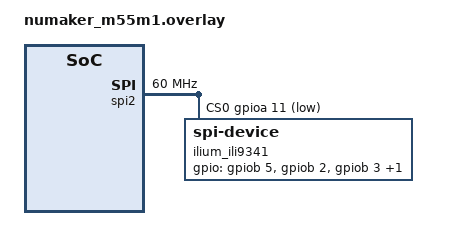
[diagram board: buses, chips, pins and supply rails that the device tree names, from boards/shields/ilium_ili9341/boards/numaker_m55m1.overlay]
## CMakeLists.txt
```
# Copyright (c) 2025 Nuvoton Technology Corporation
# SPDX-License-Identifier: Apache-2.0

cmake_minimum_required(VERSION 3.20.0)

# Add extra board root for out-of-tree shields. See:
# https://docs.zephyrproject.org/latest/develop/application/index.html#custom-board-devicetree-and-soc-definitions
list(APPEND BOARD_ROOT ${CMAKE_CURRENT_SOURCE_DIR})

find_package(Zephyr REQUIRED HINTS $ENV{ZEPHYR_BASE})

project(NuMaker-Zephyr-TFLM-ObjectDetection)

# Pick chosen model file (*.tflite)
if(CONFIG_NVT_ML_OD_MODEL_YOLO_FASTEST_INT8)
    set(MODEL_TFLITE yolo-fastest_int8.tflite)
elseif(CONFIG_NVT_ML_OD_MODEL_YOLO_FASTEST_INT8_ETHOS_U55_256_SIZE)
    set(MODEL_TFLITE yolo-fastest_int8_ethos-u55-256_opt-size.tflite)
elseif(CONFIG_NVT_ML_OD_MODEL_YOLO_FASTEST_INT8_ETHOS_U55_256_SPEED)
    set(MODEL_TFLITE yolo-fastest_int8_ethos-u55-256_opt-speed.tflite)
endif()

target_compile_definitions(app
  PRIVATE
    # Required by app for dcache conditional code
    $<$<BOOL:${CONFIG_CACHE_MANAGEMENT}>:NVT_DCACHE_ON>
    # Required by app to enable CCAP
    $<$<BOOL:${CONFIG_NVT_ML_OD_INPUT_CCAP}>:__USE_CCAP__>
    # Required by app to enable display
    $<$<BOOL:${CONFIG_NVT_ML_OD_OUTPUT_DISPLAY}>:__USE_DISPLAY__>
    # Required by app to enable Ethos-U profiling
    $<$<BOOL:${CONFIG_NVT_ML_ETHOS_U_PROFILE}>:__PROFILE__>
    # Required by ml-embedded-evaluation-kit to go Ethos-U way
    $<$<BOOL:${CONFIG_NVT_ML_REQUIRES_ETHOS_U}>:ARM_NPU>
    # Required by TFLM to define tensor arena size
    ACTIVATION_BUF_SZ=${CONFIG_NVT_ML_TFLM_TENSOR_ARENA_SIZE}
)

set(APP_SOURCE_DIR ${CMAKE_CURRENT_SOURCE_DIR}/src)
set(APP_GEN_DIR ${CMAKE_CURRENT_BINARY_DIR}/generated)

target_include_directories(app
  PRIVATE
    ${APP_SOURCE_DIR}/Device/include
    ${APP_SOURCE_DIR}/ml-embedded-evaluation-kit_clone/application_api_common/include
    ${APP_SOURCE_DIR}/ml-embedded-evaluation-kit_clone/application_api_use_case_object_detection/include
    ${APP_SOURCE_DIR}/ml-embedded-evaluation-kit_clone/application_main/include
    ${APP_SOURCE_DIR}/ml-embedded-evaluation-kit_clone/log/include
    ${APP_SOURCE_DIR}/ml-embedded-evaluation-kit_clone/math/include
    ${APP_SOURCE_DIR}/ml-embedded-evaluation-kit_clone/profiler/include
    ${APP_SOURCE_DIR}/Model/include
    ${APP_SOURCE_DIR}/NPU/include
    ${APP_SOURCE_DIR}/openmv_clone/omv/alloc
    ${APP_SOURCE_DIR}/openmv_clone/omv/common
    ${APP_SOURCE_DIR}/openmv_clone/omv/imlib
    ${APP_SOURCE_DIR}/openmv_clone/omv/Lib
    ${APP_SOURCE_DIR}/Pattern/include
    ${APP_SOURCE_DIR}/ProfilerCounter/include
    ${APP_SOURCE_DIR}
    ${APP_GEN_DIR}
)

# Add BSP_Clone include path
target_include_directories(app
  PRIVATE
    $<$<BOOL:${CONFIG_SOC_SERIES_M55M1X}>:${APP_SOURCE_DIR}/BSP_Clone/M55M1_StdDriver/inc>
)

# Add all BSP_Clone *.cc/*.cpp/*.c files
if(CONFIG_SOC_SERIES_M55M1X)
  file(GLOB_RECURSE SOURCE_BSP_CLONE
    "${APP_SOURCE_DIR}/BSP_Clone/M55M1_StdDriver/*.cc"
    "${APP_SOURCE_DIR}/BSP_Clone/M55M1_StdDriver/*.cpp"
    "${APP_SOURCE_DIR}/BSP_Clone/M55M1_StdDriver/*.c"
  )
endif()

# Add all Device *.cc/*.cpp/*.c files
file(GLOB_RECURSE SOURCE_DEVICE
    "${APP_SOURCE_DIR}/Device/*.cc"
    "${APP_SOURCE_DIR}/Device/*.cpp"
    "${APP_SOURCE_DIR}/Device/*.c"
)
# Exclude */ImageSensor/*.c* files if not enabled
if(NOT CONFIG_NVT_ML_OD_INPUT_CCAP)
    list(FILTER SOURCE_DEVICE EXCLUDE REGEX ".*/ImageSensor/.*\\.c.*$")
endif()
# Exclude */Display/*.c* files if not enabled
if(NOT CONFIG_NVT_ML_OD_OUTPUT_DISPLAY)
    list(FILTER SOURCE_DEVICE EXCLUDE REGEX ".*/Display/.*\\.c.*$")
endif()
# Exclude */HyperRAM/*.c* files if not enabled
if(NOT CONFIG_NVT_ML_HYPERRAM)
    list(FILTER SOURCE_DEVICE EXCLUDE REGEX ".*/HyperRAM/.*\\.c.*$")
endif()

# Add all ml-embedded-evaluation-kit_clone *.cc/*.cpp/*.c files
file(GLOB_RECURSE SOURCE_ML_EMBEDDED_EVALUATION_KIT_CLONE
    "${APP_SOURCE_DIR}/ml-embedded-evaluation-kit_clone/*.cc"
    "${APP_SOURCE_DIR}/ml-embedded-evaluation-kit_clone/*.cpp"
    "${APP_SOURCE_DIR}/ml-embedded-evaluation-kit_clone/*.c"
)

# Add all Model *.cc/*.cpp/*.c files
file(GLOB_RECURSE SOURCE_MODEL
    "${APP_SOURCE_DIR}/Model/*.cc"
    "${APP_SOURCE_DIR}/Model/*.cpp"
    "${APP_SOURCE_DIR}/Model/*.c"
)
# Exclude all */Model/*.tflite.c* files from build, except target-specific
list(FILTER SOURCE_MODEL EXCLUDE REGEX ".*/Model/.*\\.tflite\\.c.*$")
list(APPEND SOURCE_MODEL "${APP_SOURCE_DIR}/Model/${MODEL_TFLITE}.cpp")

# Add all NPU *.cc/*.cpp/*.c files
file(GLOB_RECURSE SOURCE_NPU
    "${APP_SOURCE_DIR}/NPU/*.cc"
    "${APP_SOURCE_DIR}/NPU/*.cpp"
    "${APP_SOURCE_DIR}/NPU/*.c"
)
# Exclude ethosu*.c* or ethos_u*.c* files if not enabled
if(NOT CONFIG_NVT_ML_REQUIRES_ETHOS_U)
    list(FILTER SOURCE_NPU EXCLUDE REGEX ".*ethos_?u.*\\.c.*$")
endif()

# Make openmv available for image processing, even though camera
# and display are not enabled.
# Add all openmv *.cc/*.cpp/*.c files
file(GLOB_RECURSE SOURCE_OPENMV
    "${APP_SOURCE_DIR}/openmv_clone/*.cc"
    "${APP_SOURCE_DIR}/openmv_clone/*.cpp"
    "${APP_SOURCE_DIR}/openmv_clone/*.c"
)
# Exclude all */omv/common/*.c* files from build, except array.c
# and mutex.c
list(FILTER SOURCE_OPENMV EXCLUDE REGEX ".*/omv/common/.*\\.c.*$")
list(APPEND SOURCE_OPENMV
    "${APP_SOURCE_DIR}/openmv_clone/omv/common/array.c"
    "${APP_SOURCE_DIR}/openmv_clone/omv/common/mutex.c"
)
# Exclude unnecessary */omv/sensors/*.c* files from build
list(FILTER SOURCE_OPENMV EXCLUDE REGEX ".*/omv/sensors/.*\\.c.*$")

# Add all Pattern *.cc/*.cpp/*.c files
file(GLOB_RECURSE SOURCE_PATTERN
    "${APP_SOURCE_DIR}/Pattern/*.cc"
    "${APP_SOURCE_DIR}/Pattern/*.cpp"
    "${APP_SOURCE_DIR}/Pattern/*.c"
)

if(CONFIG_NVT_ML_ETHOS_U_PROFILE)
    # Add all ProfilerCounter *.cc/*.cpp/*.c files
    file(GLOB_RECURSE SOURCE_PROFILER_COUNTER
        "${APP_SOURCE_DIR}/ProfilerCounter/*.cc"
        "${APP_SOURCE_DIR}/ProfilerCounter/*.cpp"
        "${APP_SOURCE_DIR}/ProfilerCounter/*.c"
    )
else()
    # Make pmu_get_systick_Count available for display control
    list(APPEND SOURCE_PROFILER_COUNTER
        "${APP_SOURCE_DIR}/ProfilerCounter/pmu_counter.c"
    )
endif()

# Add root *.cc/*.cpp/*.c files
file(GLOB SOURCE_ROOT
    "${APP_SOURCE_DIR}/*.cc"
    "${APP_SOURCE_DIR}/*.cpp"
    "${APP_SOURCE_DIR}/*.c"
)

target_sources(app
  PRIVATE
    ${SOURCE_BSP_CLONE}
    ${SOURCE_DEVICE}
    ${SOURCE_ML_EMBEDDED_EVALUATION_KIT_CLONE}
    ${SOURCE_MODEL}
    ${SOURCE_NPU}
    ${SOURCE_OPENMV}
    ${SOURCE_PATTERN}
    ${SOURCE_PROFILER_COUNTER}
    ${SOURCE_ROOT}
)

# Convert picked model to C array data
generate_inc_file_for_target(app
    src/Model/${MODEL_TFLITE}
    ${APP_GEN_DIR}/${MODEL_TFLITE}.inc
)
```

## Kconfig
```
# Copyright (c) 2025 Nuvoton Technology Corporation
# SPDX-License-Identifier: Apache-2.0

config NVT_ML_HYPERRAM
	bool

config NVT_ML_REQUIRES_HYPERRAM
	bool
	select NVT_ML_HYPERRAM

config NVT_ML_HYPERRAM_TENSOR_ARENA
	bool "Allocate TFLM tensor arena in HyperRAM"
	depends on SHIELD_WINBOND_HYPERRAM
	select NVT_ML_REQUIRES_HYPERRAM

config NVT_ML_REQUIRES_ETHOS_U
	bool
	select ETHOS_U

config NVT_ML_ETHOS_U_PROFILE
	bool "Enable Ethos-U profiling"
	depends on NVT_ML_REQUIRES_ETHOS_U
	help
	  Enable Ethos-U profiling

config NVT_ML_TFLM_TENSOR_ARENA_SIZE
	int "TFLM tensor arena size"
	default 9500000 if NVT_ML_OD_MODEL_YOLO_FASTEST_INT8
	default 900000 if NVT_ML_OD_MODEL_YOLO_FASTEST_INT8_ETHOS_U55_256_SIZE
	default 1300000 if NVT_ML_OD_MODEL_YOLO_FASTEST_INT8_ETHOS_U55_256_SPEED
	help
	  Define TFLM tensor arena size

config NVT_ML_OD_INPUT_CCAP
	bool

choice NVT_ML_OD_INPUT_CHOICE
	prompt "Choose ML object detection input source"
	default NVT_ML_OD_INPUT_SENSOR_HM1055 if SHIELD_HIMAX_HM1055
	default NVT_ML_OD_INPUT_IMAGE_BLOB

config NVT_ML_OD_INPUT_SENSOR_HM1055
	bool "HM1055 as OD input"
	depends on SHIELD_HIMAX_HM1055
	select NVT_ML_OD_INPUT_CCAP
	help
	  Use CMOS image sensor HM1055 as object detection input

config NVT_ML_OD_INPUT_IMAGE_BLOB
	bool "Image blob as OD input"
	help
	  Use embedded image blob as object detection input

endchoice

choice NVT_ML_OD_MODEL_CHOICE
	prompt "Choose ML object detection model"
	default NVT_ML_OD_MODEL_YOLO_FASTEST_INT8_ETHOS_U55_256_SIZE if SOC_SERIES_M55M1X
	default NVT_ML_OD_MODEL_YOLO_FASTEST_INT8

config NVT_ML_OD_MODEL_YOLO_FASTEST_INT8
	bool "YOLO-Fastest OD model, no vela-compile"
	help
	  Use YOLO-Fastest object detection model, type INT8,
	  no vela-compile

config NVT_ML_OD_MODEL_YOLO_FASTEST_INT8_ETHOS_U55_256_SIZE
	bool "YOLO-Fastest OD model, vela-compile for size"
	select NVT_ML_REQUIRES_ETHOS_U
	help
	  Use YOLO-Fastest object detection model, type INT8,
	  vela-compile for Ethos-U55/256 MAC, optimize for size

config NVT_ML_OD_MODEL_YOLO_FASTEST_INT8_ETHOS_U55_256_SPEED
	bool "YOLO-Fastest OD model, vela-compile for speed"
	select NVT_ML_REQUIRES_ETHOS_U
	help
	  Use YOLO-Fastest object detection model, type INT8,
	  vela-compile for Ethos-U55/256 MAC, optimize for speed

endchoice

config NVT_ML_OD_OUTPUT_DISPLAY
	bool

choice NVT_ML_OD_OUTPUT_DISPLAY_CHOICE
	bool "Choose display as OD output"
	default NVT_ML_OD_OUTPUT_DISPLAY_LCD_FSA506 if SHIELD_IDS_FSA506
	default NVT_ML_OD_OUTPUT_DISPLAY_LCD_ILI9341 if SHIELD_ILIUM_ILI9341
	default NVT_ML_OD_OUTPUT_DISPLAY_LCD_LT7381 if SHIELD_LEVETOP_LT7381
	default NVT_ML_OD_OUTPUT_DISPLAY_NONE

config NVT_ML_OD_OUTPUT_DISPLAY_LCD_FSA506
	bool "FSA506 as OD output"
	depends on SHIELD_IDS_FSA506
	select NVT_ML_OD_OUTPUT_DISPLAY
	help
	  Use LCD FSA506 as object detection output over EBI

config NVT_ML_OD_OUTPUT_DISPLAY_LCD_ILI9341
	bool "ILI9341 as OD output"
	depends on SHIELD_ILIUM_ILI9341
	select NVT_ML_OD_OUTPUT_DISPLAY
	help
	  Use LCD ILI9341 as object detection output over SPI

config NVT_ML_OD_OUTPUT_DISPLAY_LCD_LT7381
	bool "LT7381 as OD output"
	depends on SHIELD_LEVETOP_LT7381
	select NVT_ML_OD_OUTPUT_DISPLAY
	help
	  Use LCD LT7381 as object detection output over EBI

config NVT_ML_OD_OUTPUT_DISPLAY_NONE
	bool "No display as OD output"
	help
	  Use no display as object detection output

endchoice

config NVT_ML_OD_INFERENCE_THREAD_STACK_SIZE
	int "OD inference thread stack size"
	default 2048
	help
	  Size of the stack for the object detection inference thread

source "Kconfig.zephyr"
```

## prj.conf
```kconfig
CONFIG_CPP=y
CONFIG_STD_CPP17=y

CONFIG_TENSORFLOW_LITE_MICRO=y

CONFIG_CMSIS_DSP=y
CONFIG_CMSIS_DSP_COMPLEXMATH=y
CONFIG_CMSIS_DSP_FASTMATH=y
CONFIG_CMSIS_DSP_TRANSFORM=y

# MPU fault may imply stack overflow
CONFIG_MAIN_STACK_SIZE=4096
# Used for k_malloc in ethos-u driver overrides ethosu_mutex_create
# and ethosu_semaphore_create
CONFIG_HEAP_MEM_POOL_SIZE=16384

# Non-cache-able memory for driver not handling cache coherency,
# e.g. LCD DMA
CONFIG_NOCACHE_MEMORY=y

# Use shell instead of unsupported getchar
CONFIG_SHELL=y

# Enable FPU
CONFIG_FPU=y
CONFIG_FPU_SHARING=y
CONFIG_FP_HARDABI=y

# Logging
CONFIG_LOG=y
CONFIG_REQUIRES_FLOAT_PRINTF=y
# Reduce log messages dropped
CONFIG_LOG_BLOCK_IN_THREAD=y

# Performance
# Enable cache
CONFIG_CACHE_MANAGEMENT=y
# Match BSP optimization level
CONFIG_SPEED_OPTIMIZATIONS=y
```

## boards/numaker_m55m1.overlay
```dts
/* SPDX-License-Identifier: Apache-2.0 */

#include <zephyr/dt-bindings/memory-attr/memory-attr-arm.h>

&npu0 {
	status = "okay";
};

/* HyperRAM */
&gpiog {
	status = "okay";
};
&gpioh {
	status = "okay";
};
&gpioj {
	status = "okay";
};

/* CCAP */
&gpiod {
	status = "okay";
};
&gpiog {
	status = "okay";
};
&gpiof {
	status = "okay";
};

/* EBI LCD panel */
&gpioa {
	status = "okay";
};
&gpioc {
	status = "okay";
};
&gpiod {
	status = "okay";
};
&gpioe {
	status = "okay";
};
&gpiog {
	status = "okay";
};
&gpioh {
	status = "okay";
};
&gpioj {
	status = "okay";
};

/ {
	hyperram: hyperram@82000000 {
		compatible = "zephyr,memory-region", "mmio-sram";
		reg = <0x82000000 0x800000>;
		zephyr,memory-region = "HYPERRAM";
		zephyr,memory-attr = <DT_MEM_ARM(ATTR_MPU_RAM)>;
		status = "okay";
	};
};
```

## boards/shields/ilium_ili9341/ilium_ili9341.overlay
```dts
/* SPDX-License-Identifier: Apache-2.0 */

/* NOP */
```

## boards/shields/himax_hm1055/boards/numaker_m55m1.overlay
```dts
/* SPDX-License-Identifier: Apache-2.0 */

/* CCAP */
&gpiod {
	status = "okay";
};
&gpiog {
	status = "okay";
};
&gpiof {
	status = "okay";
};
```

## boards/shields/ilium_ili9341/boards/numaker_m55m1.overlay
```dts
/* SPDX-License-Identifier: Apache-2.0 */

&pinctrl {
	spi2_default: spi2_default {
		group0 {
			pinmux = <PA8MFP_SPI2_MOSI>,
				 <PA9MFP_SPI2_MISO>;
			slew-rate = "fast";
		};

		group1 {
			pinmux = <PA10MFP_SPI2_CLK>;
			input-schmitt-enable;
			slew-rate = "fast";
		};
	};
};

&spi2 {
	status = "okay";

	clock-frequency = <60000000>;
	cs-gpios = <&gpioa 11 GPIO_ACTIVE_LOW>;

	pinctrl-0 = <&spi2_default>;
	pinctrl-names = "default";

	ilium_ili9341: spi-device@0 {
		status = "okay";

		reg = <0>;

		gpios = <&gpiob 5 0>, <&gpiob 2 0>, <&gpiob 3 0>, <&gpioa 11 0>;
		gpio-names = "backlight", "dc", "reset", "spi-ss";
	};
};

&gpioa {
	status = "okay";
};
&gpiob {
	status = "okay";
};
```

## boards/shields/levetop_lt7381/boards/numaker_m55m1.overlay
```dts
/* SPDX-License-Identifier: Apache-2.0 */

#include <zephyr/dt-bindings/memory-attr/memory-attr-arm.h>

/* EBI LCD panel */
&gpioa {
	status = "okay";
};
&gpioc {
	status = "okay";
};
&gpiod {
	status = "okay";
};
&gpioe {
	status = "okay";
};
&gpiog {
	status = "okay";
};
&gpioh {
	status = "okay";
};
&gpioj {
	status = "okay";
};

/ {
	ebi_lcd: ebi_lcd@60000000 {
		compatible = "zephyr,memory-region";
		reg = <0x60000000 0x100000>;
		zephyr,memory-region = "EBI_LCD";
		zephyr,memory-attr = <DT_MEM_ARM(ATTR_MPU_DEVICE)>;
		status = "okay";
	};
};
```

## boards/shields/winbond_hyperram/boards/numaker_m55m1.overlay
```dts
/* SPDX-License-Identifier: Apache-2.0 */

#include <zephyr/dt-bindings/memory-attr/memory-attr-arm.h>

/* HyperRAM */
&gpiog {
	status = "okay";
};
&gpioh {
	status = "okay";
};
&gpioj {
	status = "okay";
};

/ {
	hyperram: hyperram@82000000 {
		compatible = "zephyr,memory-region", "mmio-sram";
		reg = <0x82000000 0x800000>;
		zephyr,memory-region = "HYPERRAM";
		zephyr,memory-attr = <DT_MEM_ARM(ATTR_MPU_RAM)>;
		status = "okay";
	};
};
```

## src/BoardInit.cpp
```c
/**************************************************************************//**
 * @file     BoardInit.cpp
 * @version  V1.00
 * @brief    Target board initiate function
 *
 * @copyright SPDX-License-Identifier: Apache-2.0
 * @copyright Copyright (C) 2023 Nuvoton Technology Corp. All rights reserved.
 ******************************************************************************/
#include <cstdio>

#include "NuMicro.h"
#include "log_macros.h"

#include "ethosu_npu_init.h"
#if defined(__ZEPHYR__)
#if defined(CONFIG_NVT_ML_HYPERRAM)
#include "hyperram_code.h"
#endif
#endif

#define DESIGN_NAME "M55M1"
#if defined(__ZEPHYR__)
#if defined(CONFIG_NVT_ML_HYPERRAM)
#define HYPERRAM_SPIM_PORT SPIM0
#endif
#endif

static void SYS_Init(void)
{
    /*---------------------------------------------------------------------------------------------------------*/
    /* Init System Clock                                                                                       */
    /*---------------------------------------------------------------------------------------------------------*/

    /* On zephyr, go in zephyr way */
#if defined(__ZEPHYR__)
    /* Enable FMC0 module clock to keep FMC clock when CPU idle but NPU running*/
    CLK_EnableModuleClock(FMC0_MODULE);

#if defined(CONFIG_NVT_ML_OD_INPUT_CCAP)
    /* Enable CCAP0 module clock */
    CLK_EnableModuleClock(CCAP0_MODULE);
#endif

#if defined(CONFIG_NVT_ML_HYPERRAM)
    HyperRAM_PinConfig(HYPERRAM_SPIM_PORT);
#endif
#else
    /* Enable Internal RC 12MHz clock */
    CLK_EnableXtalRC(CLK_SRCCTL_HIRCEN_Msk);

    /* Waiting for Internal RC clock ready */
    CLK_WaitClockReady(CLK_STATUS_HIRCSTB_Msk);

    /* Enable HXT clock */
    CLK_EnableXtalRC(CLK_SRCCTL_HXTEN_Msk);

    /* Waiting for HXT clock ready */
    CLK_WaitClockReady(CLK_STATUS_HXTSTB_Msk);

    /* Switch SCLK clock source to APLL0 and Enable APLL0 220MHz clock */
    CLK_SetBusClock(CLK_SCLKSEL_SCLKSEL_APLL0, CLK_APLLCTL_APLLSRC_HIRC, FREQ_220MHZ);

    /* Update System Core Clock */
    /* User can use SystemCoreClockUpdate() to calculate SystemCoreClock. */
    SystemCoreClockUpdate();

    /* Enable GPIO module clock */
    CLK_EnableModuleClock(GPIOA_MODULE);
    CLK_EnableModuleClock(GPIOB_MODULE);
    CLK_EnableModuleClock(GPIOC_MODULE);
    CLK_EnableModuleClock(GPIOD_MODULE);
    CLK_EnableModuleClock(GPIOE_MODULE);
    CLK_EnableModuleClock(GPIOF_MODULE);
    CLK_EnableModuleClock(GPIOG_MODULE);
    CLK_EnableModuleClock(GPIOH_MODULE);
    CLK_EnableModuleClock(GPIOI_MODULE);
    CLK_EnableModuleClock(GPIOJ_MODULE);

    /* Enable FMC0 module clock to keep FMC clock when CPU idle but NPU running*/
    CLK_EnableModuleClock(FMC0_MODULE);

    /* Enable NPU module clock */
    CLK_EnableModuleClock(NPU0_MODULE);

    /* Enable CCAP0 module clock */
    CLK_EnableModuleClock(CCAP0_MODULE);

    /* Select UART6 module clock source as HIRC and UART6 module clock divider as 1 */
    SetDebugUartCLK();

    /*---------------------------------------------------------------------------------------------------------*/
    /* Init I/O Multi-function                                                                                 */
    /*---------------------------------------------------------------------------------------------------------*/

    /* Set multi-function pins for UART RXD and TXD */
    SetDebugUartMFP();

    HyperRAM_PinConfig(HYPERRAM_SPIM_PORT);
#endif
}

/**
  * @brief Initiate the hardware resources of board
  * @return 0: Success, <0: Fail
  * @details Initiate clock, UART, NPU, hyperflash/hyperRAM
  * \hideinitializer
  */
int BoardInit(void)
{
    /* Unlock protected registers */
    SYS_UnlockReg();

    SYS_Init();

    /* On zephyr, go in zephyr way */
#if !defined(__ZEPHYR__)
    /* UART init - will enable valid use of printf (stdout
     * re-directed at this UART (UART6) */
    InitDebugUart();
#endif

    SYS_LockReg();                   /* Unlock register lock protect */

#if defined(__ZEPHYR__)
#if defined(CONFIG_NVT_ML_HYPERRAM)
    HyperRAM_Init(HYPERRAM_SPIM_PORT);
    /* Enter direct-mapped mode to run new applications */
    SPIM_HYPER_EnterDirectMapMode(HYPERRAM_SPIM_PORT);
#endif
#else
    HyperRAM_Init(HYPERRAM_SPIM_PORT);
    /* Enter direct-mapped mode to run new applications */
    SPIM_HYPER_EnterDirectMapMode(HYPERRAM_SPIM_PORT);
#endif

    info("%s: complete\n", __FUNCTION__);

#if defined(ARM_NPU)

    int state;

    /* If Arm Ethos-U NPU is to be used, we initialise it here */
    if (0 != (state = arm_ethosu_npu_init()))
    {
        return state;
    }

#endif /* ARM_NPU */

    /* Print target design info */
    info("Target system: %s\n", DESIGN_NAME);

    return 0;
}
```

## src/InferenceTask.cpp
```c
/**************************************************************************//**
 * @file     InferenceTask.cpp
 * @version  V0.10
 * @brief    Inference process source code
 * * SPDX-License-Identifier: Apache-2.0
 * @copyright (C) 2022 Nuvoton Technology Corp. All rights reserved.
 ******************************************************************************/

#include "InferenceTask.hpp"
#include "log_macros.h"      /* Logging macros */

namespace InferenceProcess
{

InferenceProcess::InferenceProcess(
    Model *model)
    :   m_model(model)
{}

bool InferenceProcess::RunJob(
    object_detection::DetectorPostprocessing *pPostProc,
    int modelCols,
    int mode1Rows,
    int srcImgWidth,
    int srcImgHeight,
    std::vector<object_detection::DetectionResult> *results
)
{
    //    info("Inference process task run job...\n");

#if defined(__PROFILE__)
    uint64_t u64StartCycle;
    uint64_t u64EndCycle;

    profiler.StartProfiling("Inference");
#endif

    bool runInf = m_model->RunInference();

#if defined(__PROFILE__)
    profiler.StopProfiling();
    profiler.PrintProfilingResult();
#endif

    TfLiteTensor *modelOutput0 = m_model->GetOutputTensor(0);
    TfLiteTensor *modelOutput1 = m_model->GetOutputTensor(1);

#if defined(__PROFILE__)
    u64StartCycle = pmu_get_systick_Count();
#endif

    pPostProc->RunPostProcessing(
        mode1Rows,
        modelCols,
        srcImgHeight,
        srcImgWidth,
        modelOutput0,
        modelOutput1,
        *results);

#if defined(__PROFILE__)
    u64EndCycle = pmu_get_systick_Count();
    info("post processing cycles %llu \n", (u64EndCycle - u64StartCycle));
#endif

    return runInf;
}

}// namespace InferenceProcess

/* On zephyr, ethos-u overrides are implemented in zephyr driver
 * (zephyr/drivers/misc/ethos_u)
 */
#if !defined(__ZEPHYR__)

/****************************************************************************
 * Mutex & Semaphore
 * Overrides weak-linked symbols in ethosu_driver.c to implement thread handling
 ****************************************************************************/

extern "C" {

    void *ethosu_mutex_create(void)
    {
        return xSemaphoreCreateMutex();
    }

    int ethosu_mutex_lock(void *mutex)
    {
        SemaphoreHandle_t handle = reinterpret_cast<SemaphoreHandle_t>(mutex);
        xSemaphoreTake(handle, portMAX_DELAY);
        return 0;
    }

    int ethosu_mutex_unlock(void *mutex)
    {
        SemaphoreHandle_t handle = reinterpret_cast<SemaphoreHandle_t>(mutex);
        xSemaphoreGive(handle);
        return 0;
    }

    void *ethosu_semaphore_create(void)
    {
        return xSemaphoreCreateBinary();
    }

    int ethosu_semaphore_take(void *sem)
    {
        SemaphoreHandle_t handle = reinterpret_cast<SemaphoreHandle_t>(sem);

        if (xSemaphoreTake(handle, portMAX_DELAY) == pdFALSE)
        {
            printf("xSemaphoreTake return false \n");
        }

        return 0;
    }

    int ethosu_semaphore_give(void *sem)
    {
        SemaphoreHandle_t handle = reinterpret_cast<SemaphoreHandle_t>(sem);
        xSemaphoreGive(handle);
        return 0;
    }

    int ethosu_semaphore_give_from_ISR(void *sem)
    {
        SemaphoreHandle_t handle = reinterpret_cast<SemaphoreHandle_t>(sem);
        BaseType_t xHighPriorityTaskWoken = pdFALSE;

        if (xSemaphoreGiveFromISR(handle, &xHighPriorityTaskWoken) == pdFALSE)
        {
            printf("xSemaphoreGiveFromISR return false \n");
        }

        portYIELD_FROM_ISR(xHighPriorityTaskWoken);
        return 0;
    }
}

#endif

/* On zephyr, use k_queue */
#if defined(__ZEPHYR__)
void inferenceProcessTask(void *pvParameters, void *p2, void *p3)
#else
void inferenceProcessTask(void *pvParameters)
#endif
{
    struct ProcessTaskParams params = *reinterpret_cast<struct ProcessTaskParams *>(pvParameters);

    InferenceProcess::InferenceProcess inferenceProcess(params.model);

    for (;;)
    {
        xInferenceJob *xJob;

        /* On zephyr, use k_queue */
#if defined(__ZEPHYR__)
        xJob = static_cast<xInferenceJob *>(k_queue_get(params.queueHandle, K_FOREVER));
#else
        xQueueReceive(params.queueHandle, &xJob, portMAX_DELAY);
#endif

        inferenceProcess.RunJob(
                            xJob->pPostProc,
                            xJob->modelCols,
                            xJob->mode1Rows,
                            xJob->srcImgWidth,
                            xJob->srcImgHeight,
                            xJob->results
                        );

        /* On zephyr, use k_queue */
#if defined(__ZEPHYR__)
        k_queue_alloc_append(xJob->responseQueue, xJob);
#else
        xQueueSend(xJob->responseQueue, &xJob, portMAX_DELAY);
#endif
    }

}
```

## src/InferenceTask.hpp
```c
/**************************************************************************//**
 * @file     InferenceProcess.hpp
 * @version  V0.10
 * @brief    Inference process header file
 * * SPDX-License-Identifier: Apache-2.0
 * @copyright (C) 2022 Nuvoton Technology Corp. All rights reserved.
 ******************************************************************************/
#ifndef INFERENCE_TASK_HPP
#define INFERENCE_TASK_HPP

/* Zephyr, not FreeRTOS */
#if defined(__ZEPHYR__)
#include <zephyr/kernel.h>
#else
#include "FreeRTOS.h"
#include "queue.h"
#include "semphr.h"
#include "task.h"
#endif

#include "DetectorPostProcessing.hpp" /* Post-processing class. */
#include "Model.hpp"

#if defined(__PROFILE__)
    #include "Profiler.hpp"
#endif

using namespace arm::app;

namespace InferenceProcess
{

class InferenceProcess
{
public:
    InferenceProcess(Model *model);
    bool RunJob(
        object_detection::DetectorPostprocessing *pPostProc,
        int modelCols,
        int mode1Rows,
        int srcImgWidth,
        int srcImgHeight,
        std::vector<object_detection::DetectionResult> *results);
protected:

#if defined(__PROFILE__)
    arm::app::Profiler profiler;
#endif

    Model *m_model = nullptr;
};
}// namespace InferenceProcess

struct ProcessTaskParams
{
    Model *model;
    /* On zephyr, use k_queue */
#if defined(__ZEPHYR__)
    k_queue *queueHandle;
#else
    QueueHandle_t queueHandle;
#endif
};

struct xInferenceJob
{
    /* On zephyr, use k_queue */
#if defined(__ZEPHYR__)
    k_queue *responseQueue;
#else
    QueueHandle_t responseQueue;
#endif
    object_detection::DetectorPostprocessing *pPostProc;
    int modelCols;
    int mode1Rows;
    int srcImgWidth;
    int srcImgHeight;

    std::vector<object_detection::DetectionResult> *results;
};

/* On zephyr, use k_queue */
#if defined(__ZEPHYR__)
void inferenceProcessTask(void *pvParameters, void *p2, void *p3);
#else
void inferenceProcessTask(void *pvParameters);
#endif

#endif
```

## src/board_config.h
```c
/**************************************************************************//**
 * @file     board_config.h
 * @version  V1.00
 * @brief    Specify board component
 *
 * @copyright SPDX-License-Identifier: Apache-2.0
 * @copyright Copyright (C) 2024 Nuvoton Technology Corp. All rights reserved.
 ******************************************************************************/
#ifndef __BOARD_CONFIG_H__
#define __BOARD_CONFIG_H__

#include "NuMicro.h"

#if defined(CONFIG_BOARD_NUMAKER_M55M1)
#define __NUMAKER_M55M1__
//#define __NUMAKER_EZAI__
#endif

#if defined(CONFIG_NVT_ML_OD_OUTPUT_DISPLAY_LCD_FSA506) || \
    defined(CONFIG_NVT_ML_OD_OUTPUT_DISPLAY_LCD_LT7381)
    #define __EBI_LCD_PANEL__
    #define CONFIG_LCD_EBI                  EBI_BANK0
    #define CONFIG_LCD_EBI_ADDR             (EBI_BANK0_BASE_ADDR+(CONFIG_LCD_EBI*EBI_MAX_SIZE))
    #define CONFIG_LCD_EBI_CLK_MODULE       EBI0_MODULE
#if defined(CONFIG_NVT_ML_OD_OUTPUT_DISPLAY_LCD_LT7381)
    #define LT7381_LCD_PANEL
#elif defined(CONFIG_NVT_ML_OD_OUTPUT_DISPLAY_LCD_FSA506)
    #define FSA506_LCD_PANEL
#endif

#endif

#if defined(CONFIG_NVT_ML_OD_OUTPUT_DISPLAY_LCD_ILI9341)
    #define __SPI_LCD_PANEL__
    #define CONFIG_LCD_SPI_PORT             SPI2
    #define CONFIG_LCD_SPI_CLK_MODULE       SPI2_MODULE
    #define CONFIG_LCD_SPI_CLK_SEL          CLK_SPISEL_SPI2SEL_PCLK0

#endif

#endif
```
